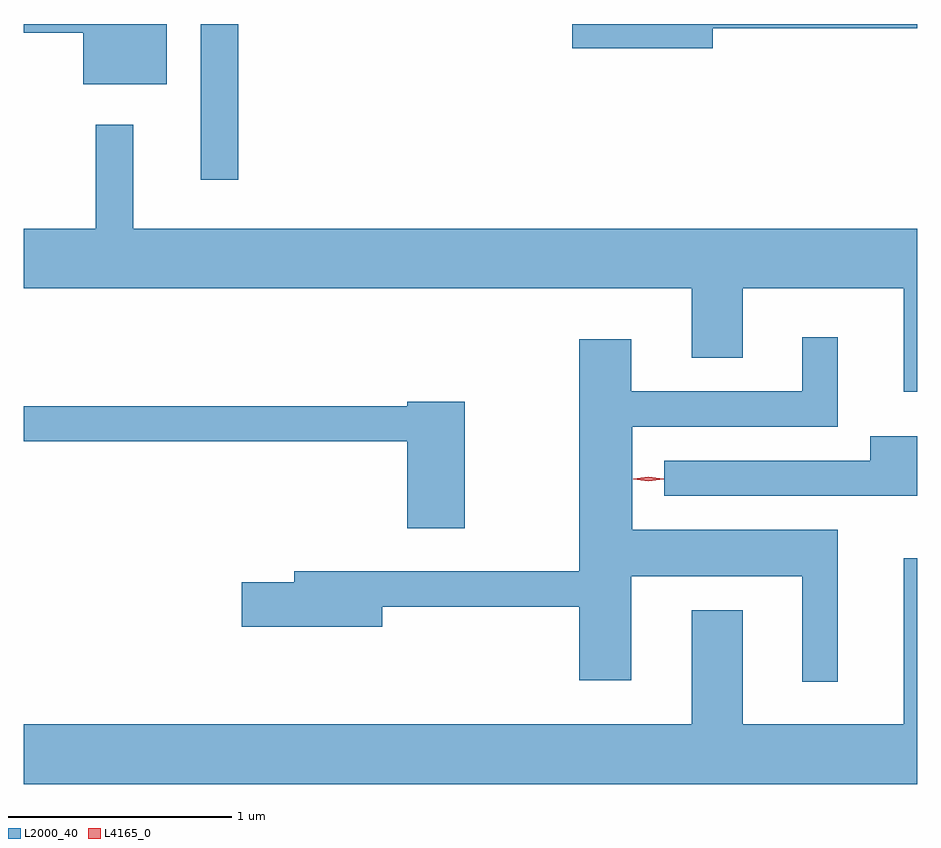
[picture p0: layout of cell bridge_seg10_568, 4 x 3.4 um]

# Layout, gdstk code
import gdstk
lib = gdstk.Library(unit=1e-6, precision=1e-09)
def R(c, l, rs):  # rectangles x0, y0, x1, y1
    for r in rs: c.add(gdstk.rectangle(r[:2], r[2:], *l))
def P(c, l, *ps):  # polygons
    for p in ps: c.add(gdstk.Polygon(p, *l))
L2000_40 = (2000, 40)
L4165_0 = (4165, 0)

bridge_seg10_568 = lib.new_cell('bridge_seg10_568')
R(bridge_seg10_568, L2000_40, [(659.081,2205.423,659.249,2206.12)])
P(bridge_seg10_568, L2000_40, [(661.374,2206.101),(662.29,2206.101),(662.29,2206.12),(660.746,2206.12),(660.746,2206.011),(661.374,2206.011)],
  [(658.929,2206.12),(658.29,2206.12),(658.29,2206.081),(658.556,2206.081),(658.556,2205.851),(658.929,2205.851)],
  [(662.29,2205.204),(658.779,2205.204),(658.779,2205.668),(658.611,2205.668),(658.611,2205.204),(658.29,2205.204),(658.29,2204.936),(661.281,2204.936),(661.281,2204.626),(661.509,2204.626),(661.509,2204.936),(662.231,2204.936),(662.231,2204.473),(662.29,2204.473)],
  [(661.934,2203.854),(661.014,2203.854),(661.014,2204.316),(661.934,2204.316),(661.934,2204.718),(661.776,2204.718),(661.776,2204.474),(661.009,2204.474),(661.009,2204.709),(660.776,2204.709),(660.776,2203.669),(659.501,2203.669),(659.501,2203.619),(659.266,2203.619),(659.266,2203.421),(659.894,2203.421),(659.894,2203.511),(660.776,2203.511),(660.776,2203.181),(661.009,2203.181),(661.009,2203.646),(661.776,2203.646),(661.776,2203.173),(661.934,2203.173)],
  [(660.264,2204.429),(660.006,2204.429),(660.006,2204.409),(658.29,2204.409),(658.29,2204.251),(660.006,2204.251),(660.006,2203.861),(660.264,2203.861)],
  [(662.29,2204.274),(662.081,2204.274),(662.081,2204.164),(661.158,2204.164),(661.158,2204.006),(662.29,2204.006)],
  [(662.29,2203.728),(662.231,2203.728),(662.231,2202.984),(661.509,2202.984),(661.509,2203.494),(661.281,2203.494),(661.281,2202.984),(658.29,2202.984),(658.29,2202.716),(662.29,2202.716)])
P(bridge_seg10_568, L4165_0, [(661.086,2204.073),(661.02,2204.082),(661.02,2204.083),(661.02,2204.084),(661.086,2204.093),(661.152,2204.084),(661.153,2204.083),(661.152,2204.082)],
  [(661.087,2204.073),(661.018,2204.082),(661.018,2204.083),(661.018,2204.084),(661.087,2204.093),(661.156,2204.084),(661.156,2204.083),(661.156,2204.082)])

lib.write_gds('bridge_seg10_568.gds')
